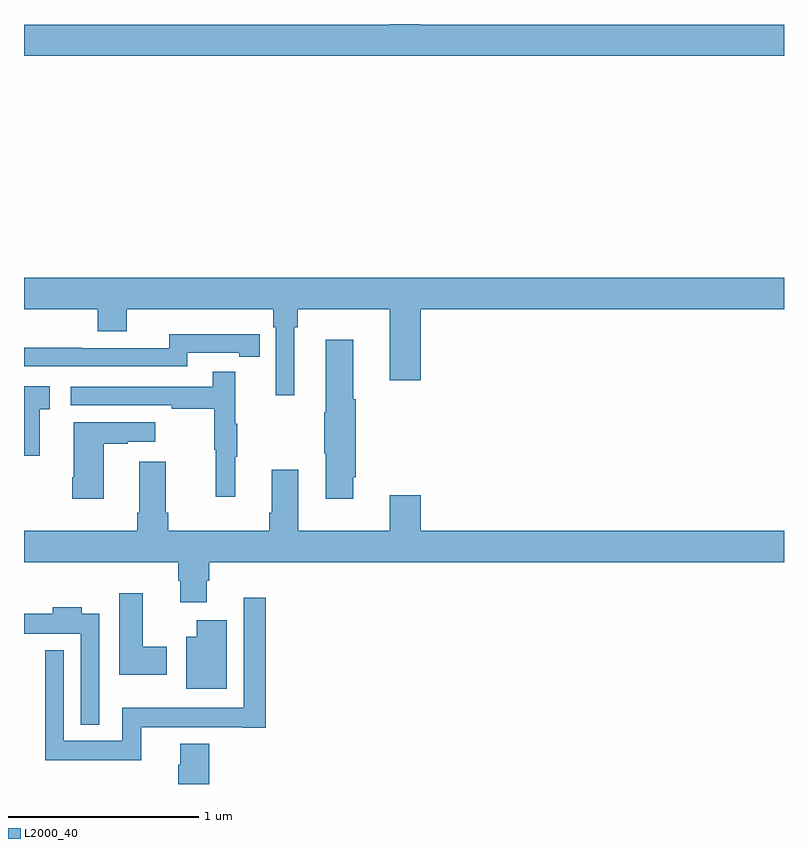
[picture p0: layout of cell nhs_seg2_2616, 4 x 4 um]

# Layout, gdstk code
import gdstk
lib = gdstk.Library(unit=1e-6, precision=1e-09)
def P(c, l, *ps):  # polygons
    for p in ps: c.add(gdstk.Polygon(p, *l))
L2000_40 = (2000, 40)

nhs_seg2_2616 = lib.new_cell('nhs_seg2_2616')
P(nhs_seg2_2616, L2000_40, [(251,651.796),(249.088,651.796),(249.088,651.8),(248.924,651.8),(248.924,651.796),(247,651.796),(247,651.632),(251,651.632)],
  [(248.422,650.204),(248.441,650.204),(248.441,650.3),(248.924,650.3),(248.924,649.926),(249.088,649.926),(249.088,650.3),(251,650.3),(251,650.464),(247,650.464),(247,650.3),(247.388,650.3),(247.388,650.183),(247.54,650.183),(247.54,650.3),(248.312,650.3),(248.312,650.204),(248.325,650.204),(248.325,649.845),(248.422,649.845)],
  [(247.86,650.07),(248.132,650.07),(248.132,650.05),(248.24,650.05),(248.24,650.166),(248.132,650.166),(248.132,650.167),(247.764,650.167),(247.764,650.094),(247.304,650.094),(247.304,650.096),(247,650.096),(247,649.998),(247.86,649.998)],
  [(248.734,649.414),(248.747,649.414),(248.747,649.824),(248.734,649.824),(248.734,650.137),(248.588,650.137),(248.588,649.757),(248.581,649.757),(248.581,649.54),(248.588,649.54),(248.588,649.302),(248.734,649.302)],
  [(248.111,649.523),(248.122,649.523),(248.122,649.697),(248.111,649.697),(248.111,649.969),(247.993,649.969),(247.993,649.89),(247.245,649.89),(247.245,649.794),(247.777,649.794),(247.777,649.774),(248.001,649.774),(248.001,649.56),(248.008,649.56),(248.008,649.311),(248.111,649.311)],
  [(247.082,649.773),(247.135,649.773),(247.135,649.894),(247,649.894),(247,649.527),(247.082,649.527)],
  [(247.42,649.591),(247.547,649.591),(247.547,649.601),(247.69,649.601),(247.69,649.705),(247.262,649.705),(247.262,649.414),(247.255,649.414),(247.255,649.302),(247.42,649.302)],
  [(247.963,648.87),(247.976,648.87),(247.976,648.968),(251,648.968),(251,649.132),(249.088,649.132),(249.088,649.321),(248.924,649.321),(248.924,649.132),(248.443,649.132),(248.443,649.453),(248.303,649.453),(248.303,649.228),(248.291,649.228),(248.291,649.132),(247.76,649.132),(247.76,649.228),(247.747,649.228),(247.747,649.495),(247.607,649.495),(247.607,649.228),(247.595,649.228),(247.595,649.132),(247,649.132),(247,648.968),(247.811,648.968),(247.811,648.87),(247.823,648.87),(247.823,648.756),(247.963,648.756)],
  [(247.75,648.522),(247.624,648.522),(247.624,648.805),(247.502,648.805),(247.502,648.374),(247.75,648.374)],
  [(247.616,648.098),(248.15,648.098),(248.15,648.096),(248.273,648.096),(248.273,648.781),(248.157,648.781),(248.157,648.202),(247.518,648.202),(247.518,648.028),(247.209,648.028),(247.209,648.505),(247.112,648.505),(247.112,647.924),(247.616,647.924)],
  [(247.395,648.697),(247.303,648.697),(247.303,648.73),(247.151,648.73),(247.151,648.697),(247,648.697),(247,648.59),(247.299,648.59),(247.299,648.113),(247.395,648.113)],
  [(248.068,648.661),(247.91,648.661),(247.91,648.574),(247.853,648.574),(247.853,648.302),(248.068,648.302)],
  [(247.976,648.013),(247.823,648.013),(247.823,647.901),(247.811,647.901),(247.811,647.8),(247.976,647.8)])

lib.write_gds('nhs_seg2_2616.gds')
